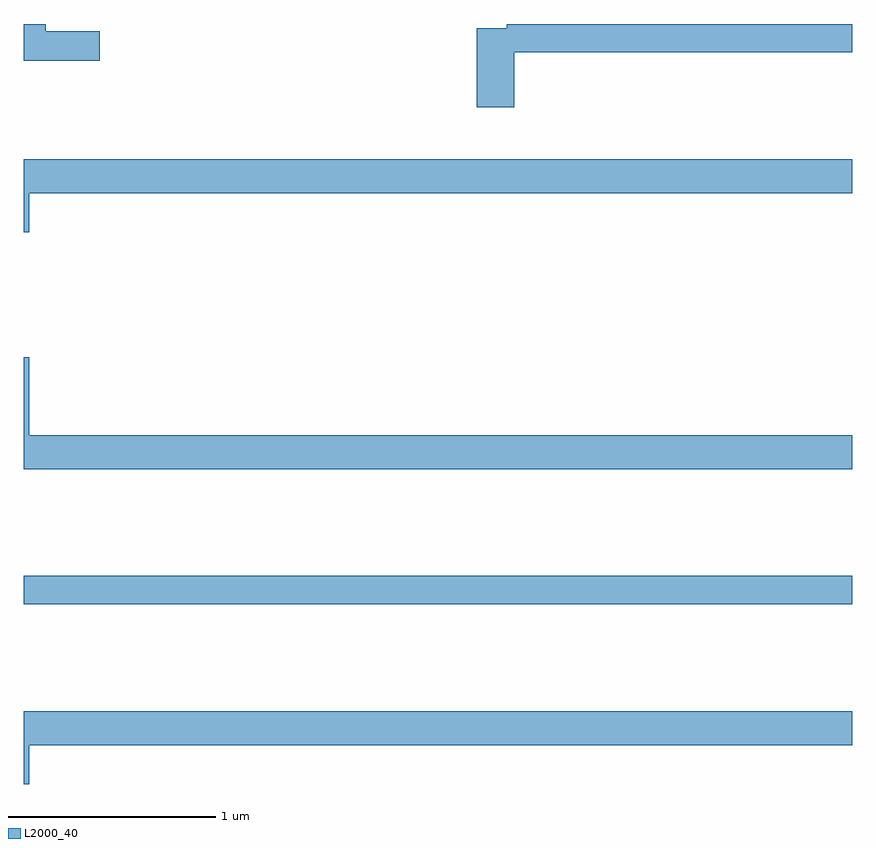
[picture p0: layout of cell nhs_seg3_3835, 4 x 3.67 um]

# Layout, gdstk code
import gdstk
lib = gdstk.Library(unit=1e-6, precision=1e-09)
def R(c, l, rs):  # rectangles x0, y0, x1, y1
    for r in rs: c.add(gdstk.rectangle(r[:2], r[2:], *l))
def P(c, l, *ps):  # polygons
    for p in ps: c.add(gdstk.Polygon(p, *l))
L2000_40 = (2000, 40)

nhs_seg3_3835 = lib.new_cell('nhs_seg3_3835')
R(nhs_seg3_3835, L2000_40, [(309,721.576,313,721.712)])
P(nhs_seg3_3835, L2000_40, [(311.369,724.24),(313,724.24),(313,724.376),(311.332,724.376),(311.332,724.356),(311.186,724.356),(311.186,723.975),(311.369,723.975)],
  [(309.367,724.34),(309.106,724.34),(309.106,724.376),(309,724.376),(309,724.198),(309.367,724.198)],
  [(309.028,723.56),(313,723.56),(313,723.724),(309,723.724),(309,723.372),(309.028,723.372)],
  [(313,722.392),(309.028,722.392),(309.028,722.767),(309,722.767),(309,722.228),(313,722.228)],
  [(309.028,720.896),(313,720.896),(313,721.06),(309,721.06),(309,720.708),(309.028,720.708)])

lib.write_gds('nhs_seg3_3835.gds')
